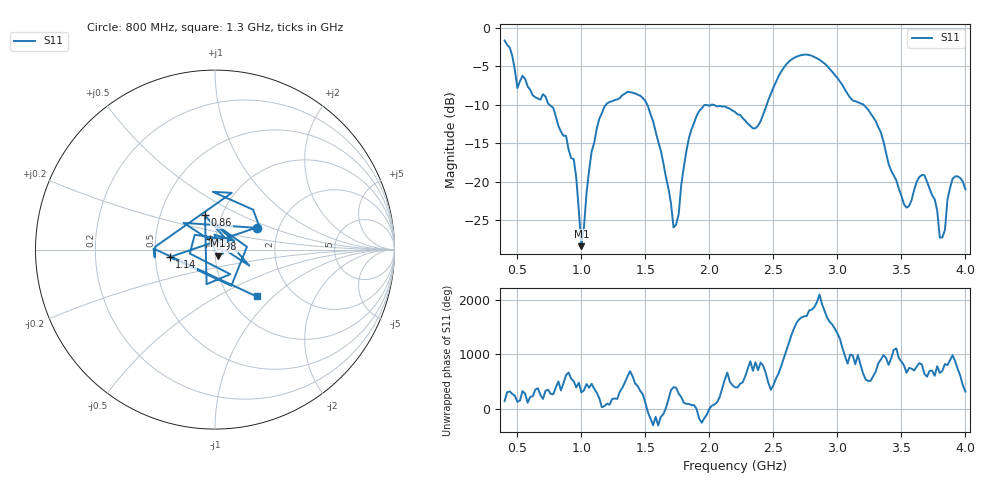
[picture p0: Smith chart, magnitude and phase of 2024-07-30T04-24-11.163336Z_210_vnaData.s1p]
!Created with skrf (http://scikit-rf.org).
# Hz S RI R 50.0
!freq ReS11 ImS11
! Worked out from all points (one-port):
!   181 points, 400 MHz to 4 GHz, reference 50 ohm
!   lowest |S11| = -28.4 dB at 1 GHz (marker M1), VSWR 1.08, Z = 51.6 - j3.49 ohm
!   |S11| at or under -10 dB: 749.6 MHz to 1.192 GHz (442.5 MHz wide, 45.6 % of centre); 1.514 GHz to 2.018 GHz (503.3 MHz wide, 28.5 % of centre); 3.204 GHz to end of sweep (the widest 3 of 4)
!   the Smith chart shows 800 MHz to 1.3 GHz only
!   S11 on the Smith chart (normalised r, x): 800 MHz: 1.55, +0.40; 860 MHz: 0.83, +0.33; 980 MHz: 0.94, +0.11; 1.14 GHz: 0.59, -0.05; 1.3 GHz: 1.33, -0.79
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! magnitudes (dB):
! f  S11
! 400 MHz  -1.6
! 500 MHz  -7.8
! 540 MHz  -6.2
! 800 MHz  -11.5
! 860 MHz  -14.0
! 940 MHz  -17.1
! 980 MHz  -23.8
! 1 GHz  -28.4
! 1.08 GHz  -16.1
! 1.14 GHz  -11.8
! 1.3 GHz  -9.1
! 1.5 GHz  -9.5
! 1.62 GHz  -16.0
! 1.72 GHz  -26.0
! 1.76 GHz  -24.2
! 1.84 GHz  -14.3
! 1.92 GHz  -10.8
! 2.2 GHz  -10.9
! 2.36 GHz  -13.1
! 2.66 GHz  -3.9
! 2.86 GHz  -4.1
! 3.1 GHz  -9.1
! 3.3 GHz  -12.2
! 3.56 GHz  -23.2
! 3.68 GHz  -19.2
! 3.82 GHz  -27.3
! 3.9 GHz  -19.6
! 4 GHz  -21.0
